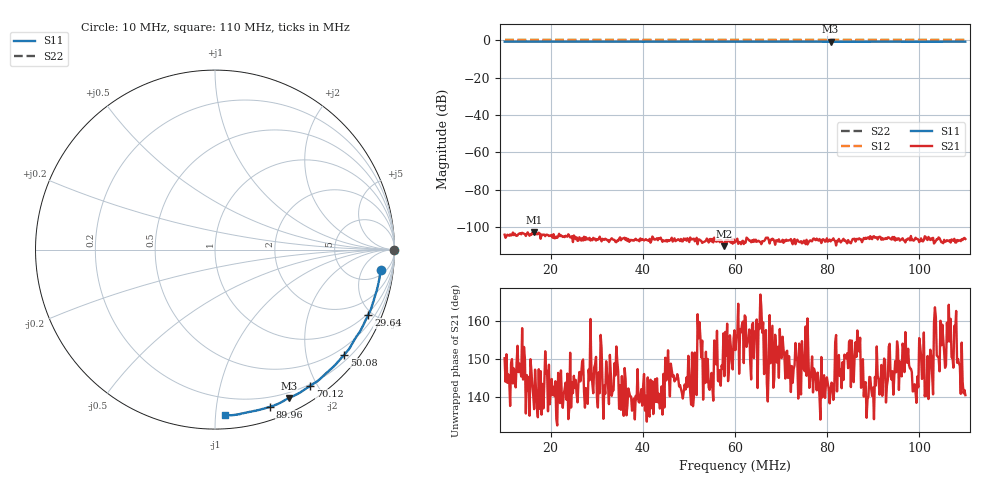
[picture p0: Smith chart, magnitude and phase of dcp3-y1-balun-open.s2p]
! Anritsu VNA Master:  Model: MS2034B/10/19/501
! SN:  1337062
! /bd0/ovro-jan-2016/dcp3-y1-balun-open.s2p
! Existing Calibration Information:
! TYPE:  Current Settings,  Active Cal Settings
! TIME:  01/14/2016 12:06:50 PM,  01/14/2016 12:01:10 PM
! INTERNAL TEMP:  43.3 C,  43.8 C
! # POINTS:  500,  500
! START FREQ:  10.000 MHz,  10.000 MHz
! STOP FREQ:  110.000 MHz,  110.000 MHz
! SOURCE POWER:  High,  High
! IFBW:  100 Hz,  100 Hz
! AVG FACTOR:  4 ,  4
! REF PLANE 1:  0 mm,  0 mm
! REF PLANE 2:  0 mm,  0 mm
! CAL TYPE:  Full S11,  Full S11
! CAL METHOD:  SOLT,  SOLT
! CAL LINE TYPE:  Coax,  Coax
! DUT PORT 1:  K-Conn(M),  K-Conn(M)
! DUT PORT 2:  N-Conn(M),  N-Conn(M)
! CAL STATUS:  OK: Accuracy High,  --
# GHZ S DB R 50.0
! FREQ.GHZ  S11DB  S11A  S21DB  S21A  S12DB  S12A  S22DB  S22A
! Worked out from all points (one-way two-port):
!   500 points, 10 MHz to 110 MHz, reference 50 ohm
!   highest |S21| = -102.89 dB at 16.41 MHz (marker M1); lowest = -110.3 dB at 57.7 MHz (marker M2)
!   lowest |S11| = -0.7 dB at 80.74 MHz (marker M3), VSWR 25.18, Z = 7.13 - j80.2 ohm
!   |S11| at or under -10 dB: nowhere
!   |S22| runs from 0.0 to 0.0 dB; largest |S21 - S12| = 1
!   S11 on the Smith chart (normalised r, x): 10 MHz: 7, -12; 29.64 MHz: 0.90, -4.75; 50.08 MHz: 0.33, -2.78; 70.12 MHz: 0.18, -1.91; 89.96 MHz: 0.11, -1.40; 110 MHz: 0.08, -1.06
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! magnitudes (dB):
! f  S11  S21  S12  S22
! 10 MHz  -0.6  -104.2  0.0  0.0
! 16.41 MHz  -0.6  -102.9  0.0  0.0
! 26.83 MHz  -0.6  -106.0  0.0  0.0
! 29.64 MHz  -0.6  -106.3  0.0  0.0
! 32.65 MHz  -0.7  -108.1  0.0  0.0
! 37.66 MHz  -0.7  -107.3  0.0  0.0
! 41.06 MHz  -0.7  -107.2  0.0  0.0
! 43.47 MHz  -0.7  -106.0  0.0  0.0
! 46.87 MHz  -0.6  -106.1  0.0  0.0
! 50.08 MHz  -0.7  -108.1  0.0  0.0
! 57.7 MHz  -0.7  -110.3  0.0  0.0
! 60.1 MHz  -0.7  -108.0  0.0  0.0
! 66.71 MHz  -0.6  -105.8  0.0  0.0
! 70.12 MHz  -0.7  -107.9  0.0  0.0
! 76.73 MHz  -0.7  -107.7  0.0  0.0
! 80.74 MHz  -0.7  -107.8  0.0  0.0
! 86.55 MHz  -0.6  -106.5  0.0  0.0
! 89.96 MHz  -0.7  -105.2  0.0  0.0
! 93.37 MHz  -0.7  -105.6  0.0  0.0
! 98.98 MHz  -0.7  -106.9  0.0  0.0
! 104.8 MHz  -0.7  -108.2  0.0  0.0
! 110 MHz  -0.7  -106.5  0.0  0.0
